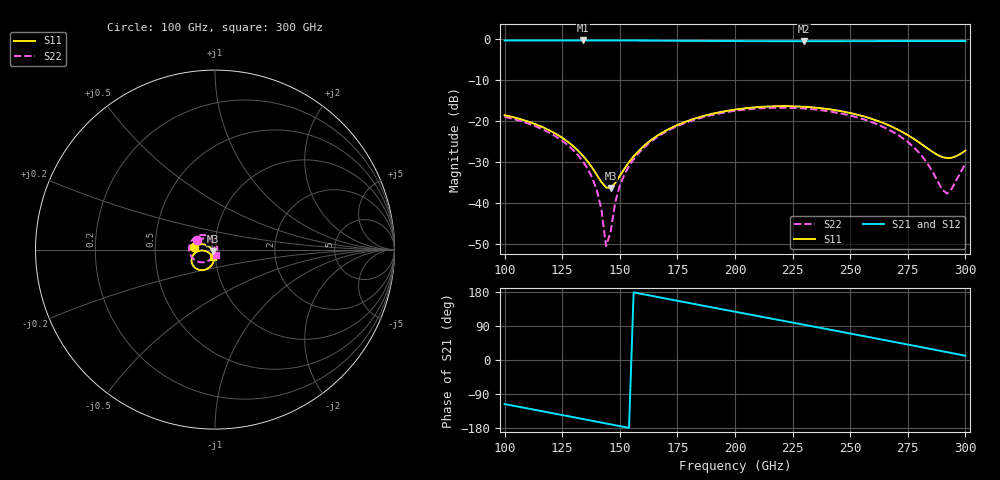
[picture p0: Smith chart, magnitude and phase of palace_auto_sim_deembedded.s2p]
! Created with skrf 1.11.0 (http://scikit-rf.org).
# GHz S DB R 50.0
!freq dBS11 angS11 dBS21 angS21 dBS12 angS12 dBS22 angS22
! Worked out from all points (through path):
!   101 points, 100 GHz to 300 GHz, reference 50 ohm
!   highest |S21| = -0.39 dB at 134 GHz (marker M1); lowest = -0.6 dB at 230 GHz (marker M2)
!   group delay of S21, straight-line fit = 3.22 ps
!   lowest |S11| = -36.3 dB at 146 GHz (marker M3), VSWR 1.03, Z = 48.8 - j0.902 ohm
!   |S11| at or under -10 dB: start of sweep to end of sweep
!   |S22| runs from -50.5 to -16.8 dB; largest |S21 - S12| = 1.1e-14
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100  -18.60 173.9  -0.41 -116.3  -0.41 -116.3  -19.01 151.6
120  -22.46 156.7  -0.39 -139.5  -0.39 -139.5  -23.06 126.6
128  -25.33 152.8  -0.39 -148.8  -0.39 -148.8  -26.18 117.0
134  -28.50 153.9  -0.39 -155.8  -0.39 -155.8  -29.88 110.5
140  -33.14 166.9  -0.39 -162.8  -0.39 -162.8  -36.84 107.3
142  -34.90 178.3  -0.39 -165.2  -0.39 -165.2  -41.45 110.5
144  -36.21 -164.1  -0.39 -167.5  -0.39 -167.5  -50.53 137.2
146  -36.34 -142.7  -0.40 -169.8  -0.40 -169.8  -47.13 -116.2
148  -35.17 -124.1  -0.40 -172.2  -0.40 -172.2  -39.85 -102.7
152  -31.66 -103.9  -0.40 -176.9  -0.40 -176.9  -33.08 -101.6
158  -27.41 -95.8  -0.41 176.1  -0.41 176.1  -27.95 -107.0
168  -23.00 -97.9  -0.44 164.4  -0.44 164.4  -23.31 -118.7
182  -19.51 -108.0  -0.48 148.1  -0.48 148.1  -19.79 -136.1
200  -17.23 -123.6  -0.54 127.4  -0.54 127.4  -17.54 -158.5
216  -16.45 -137.8  -0.56 109.0  -0.56 109.0  -16.81 -178.5
230  -16.55 -150.0  -0.57 92.9  -0.57 92.9  -16.99 163.7
234  -16.72 -153.5  -0.57 88.3  -0.57 88.3  -17.18 158.5
250  -18.07 -166.1  -0.56 69.9  -0.56 69.9  -18.69 137.2
268  -21.38 -175.7  -0.54 49.0  -0.54 49.0  -22.50 110.7
280  -25.27 -171.8  -0.53 34.9  -0.53 34.9  -27.82 86.5
292  -29.06 -136.8  -0.53 20.7  -0.53 20.7  -37.70 -1.5
300  -27.23 -105.9  -0.53 11.3  -0.53 11.3  -30.52 -74.8
